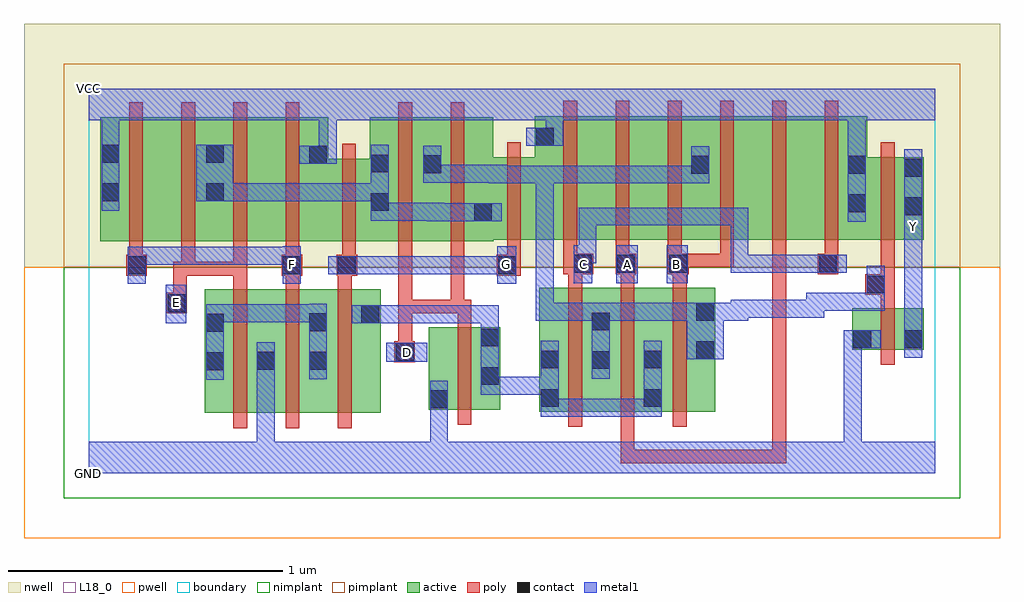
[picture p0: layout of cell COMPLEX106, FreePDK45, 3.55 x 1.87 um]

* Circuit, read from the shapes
.subckt COMPLEX106 A B C D E F G GND VCC Y
M1 GND E n1 VSUBS nfet w=0.45u l=0.05u
M2 n1 F GND VSUBS nfet w=0.45u l=0.05u
M3 n2 G n1 VSUBS nfet w=0.45u l=0.05u
M4 n2 D GND VSUBS nfet w=0.3u l=0.05u
M5 n3 C n2 VSUBS nfet w=0.45u l=0.05u
M6 n2 A n3 VSUBS nfet w=0.45u l=0.05u
M7 n3 B n2 VSUBS nfet w=0.45u l=0.05u
M8 Y n3 GND VSUBS nfet w=0.15u l=0.05u
M9 n4 F VCC n5 pfet w=0.45u l=0.05u
M10 n6 E n4 n5 pfet w=0.45u l=0.05u
M11 n7 E n6 n5 pfet w=0.45u l=0.05u
M12 VCC F n7 n5 pfet w=0.45u l=0.05u
M13 n6 G VCC n5 pfet w=0.3u l=0.05u m=2
M14 n3 D n6 n5 pfet w=0.45u l=0.05u m=2
M15 n8 C VCC n5 pfet w=0.45u l=0.05u
M16 n9 A n8 n5 pfet w=0.45u l=0.05u
M17 n3 B n9 n5 pfet w=0.45u l=0.05u
M18 n10 B n3 n5 pfet w=0.45u l=0.05u
M19 n11 A n10 n5 pfet w=0.45u l=0.05u
M20 VCC C n11 n5 pfet w=0.45u l=0.05u
M21 Y n3 VCC n5 pfet w=0.3u l=0.05u
.ends

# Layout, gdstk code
import gdstk
lib = gdstk.Library(unit=1e-6, precision=1e-09)
def R(c, l, rs):  # rectangles x0, y0, x1, y1
    for r in rs: c.add(gdstk.rectangle(r[:2], r[2:], *l))
def A(c, l, x, y, w, h, nx, ny, dx, dy):  # array of equal rectangles
    R(c, l, [(x+i*dx, y+j*dy, x+i*dx+w, y+j*dy+h) for i in range(nx) for j in range(ny)])
active = (1, 0)
pwell = (2, 0)
nwell = (3, 0)
nimplant = (4, 0)
pimplant = (5, 0)
poly = (9, 0)
contact = (10, 0)
metal1 = (11, 0)
L18_0 = (18, 0)
boundary = (235, 0)

complex106 = lib.new_cell('COMPLEX106')
R(complex106, active, [(0.422,0.22,0.682,0.67), (0.607,0.22,0.872,0.67), (0.797,0.22,1.062,0.67), (1.64,0.225,1.715,0.675), (1.64,0.225,1.9,0.675), (1.825,0.225,2.09,0.675), (2.015,0.225,2.28,0.675), (2.015,0.225,2.09,0.587), (2.205,0.225,2.28,0.675), (0.797,0.232,0.872,0.587), (0.987,0.232,1.062,0.67), (1.237,0.232,1.497,0.532), (1.237,0.232,1.312,0.392), (1.422,0.235,1.497,0.532), (0.422,0.245,0.497,0.67), (0.607,0.245,0.682,0.542), (1.825,0.245,1.9,0.675), (2.777,0.45,2.852,0.6), (2.777,0.45,3.037,0.6), (2.962,0.45,3.037,0.6), (0.042,0.845,0.117,1.295), (0.042,0.845,0.267,1.295), (0.267,0.845,0.497,1.295), (0.422,0.845,0.497,1.2), (0.422,0.845,0.647,1.295), (0.647,0.845,0.872,1.295), (0.797,0.845,1.097,1.145), (1.022,0.845,1.287,1.295), (1.212,0.845,1.472,1.295), (1.212,0.845,1.287,1.2), (1.397,0.85,1.697,1.15), (1.622,0.85,1.847,1.3), (1.847,0.85,2.037,1.3), (2.037,0.85,2.262,1.3), (2.187,0.85,2.417,1.3), (2.417,0.85,2.607,1.3), (2.607,0.85,2.832,1.3), (2.757,0.85,3.037,1.15), (2.757,0.85,2.832,1.2), (2.962,0.85,3.037,1.15), (0.797,0.857,0.872,1.197), (1.022,0.857,1.097,1.2), (2.187,0.857,2.262,1.2), (1.397,0.912,1.472,1.07), (1.622,0.925,1.697,1.267)])
R(complex106, pwell, [(-0.235,-0.235,3.315,0.75)])
R(complex106, nwell, [(-0.235,0.75,3.315,1.635)])
R(complex106, nimplant, [(-0.09,-0.09,3.17,0.75)])
R(complex106, pimplant, [(-0.09,0.75,3.17,1.49)])
A(complex106, poly, 0.527, 0.165, 0.05, 0.56, 3, 1, 0.19, 0)
A(complex106, poly, 1.745, 0.17, 0.05, 0.56, 3, 1, 0.19, 0)
A(complex106, poly, 0.527, 0.675, 0.05, 0.095, 3, 1, 0.19, 0)
A(complex106, poly, 1.745, 0.68, 0.05, 0.095, 3, 1, 0.19, 0)
A(complex106, poly, 1.727, 0.75, 0.05, 0.095, 4, 1, 0.19, 0)
A(complex106, poly, 0.147, 0.79, 0.05, 0.56, 4, 1, 0.19, 0)
A(complex106, poly, 1.727, 0.795, 0.05, 0.56, 6, 1, 0.19, 0)
R(complex106, poly, [(1.935,0.037,1.985,0.087), (1.935,0.037,1.985,0.087), (1.935,0.037,1.985,0.087), (1.935,0.037,2.182,0.087), (1.935,0.037,1.985,0.22), (2.132,0.037,2.182,0.087), (2.132,0.037,2.315,0.087), (2.265,0.037,2.315,0.087), (2.265,0.037,2.315,0.087), (2.265,0.037,2.315,0.087), (2.265,0.037,2.315,0.087), (2.265,0.037,2.315,0.087), (2.265,0.037,2.315,0.087), (2.265,0.037,2.315,0.087), (2.265,0.037,2.537,0.087), (2.487,0.037,2.537,0.845), (2.487,0.037,2.537,0.087), (2.487,0.037,2.537,0.087), (2.487,0.037,2.537,0.087), (2.487,0.037,2.537,0.087), (2.487,0.037,2.537,0.087), (2.487,0.037,2.537,0.087), (2.487,0.037,2.537,0.087), (2.487,0.037,2.537,0.087), (2.487,0.037,2.537,0.087), (1.342,0.177,1.392,0.587), (2.882,0.395,2.932,0.655), (1.112,0.405,1.187,0.48), (1.127,0.43,1.177,0.48), (1.127,0.43,1.177,0.48), (1.127,0.43,1.177,0.632), (1.342,0.537,1.392,0.632), (0.282,0.582,0.357,0.657), (1.127,0.582,1.177,0.632), (1.127,0.582,1.177,0.632), (1.127,0.582,1.177,0.632), (1.127,0.582,1.177,0.84), (1.127,0.582,1.367,0.632), (1.317,0.582,1.367,0.84), (1.317,0.582,1.392,0.632), (2.882,0.605,2.932,0.7), (0.307,0.607,0.357,0.77), (2.825,0.65,2.932,0.725), (2.882,0.675,2.932,0.845), (0.137,0.72,0.212,0.795), (0.307,0.72,0.372,0.77), (0.322,0.72,0.372,0.77), (0.322,0.72,0.387,0.77), (0.337,0.72,0.387,0.77), (0.337,0.72,0.387,0.77), (0.337,0.72,0.577,0.77), (0.337,0.72,0.387,0.84), (0.527,0.72,0.577,0.77), (0.527,0.72,0.577,0.84), (0.702,0.72,0.777,0.795), (0.902,0.72,0.977,0.795), (1.485,0.72,1.572,0.795), (1.727,0.725,1.835,0.8), (1.917,0.725,1.992,0.8), (2.107,0.725,2.182,0.8), (2.652,0.725,2.727,0.8), (0.147,0.745,0.197,0.84), (0.717,0.745,0.767,0.84), (0.922,0.745,0.972,0.84), (1.522,0.745,1.572,0.845), (2.132,0.75,2.182,0.8), (2.132,0.75,2.182,0.8), (2.132,0.75,2.347,0.8), (2.297,0.75,2.347,0.8), (2.677,0.75,2.727,0.845), (0.922,0.79,0.972,1.2), (1.127,0.79,1.177,1.35), (1.317,0.79,1.367,1.35), (1.522,0.795,1.572,1.205), (2.882,0.795,2.932,1.205)])
R(complex106, contact, [(1.242,0.237,1.307,0.302), (1.645,0.242,1.71,0.307), (2.02,0.242,2.085,0.307), (1.427,0.322,1.492,0.387), (0.427,0.375,0.492,0.44), (0.612,0.377,0.677,0.442), (0.802,0.377,0.867,0.442), (1.83,0.38,1.895,0.445), (1.645,0.382,1.71,0.447), (2.02,0.382,2.085,0.447), (1.117,0.41,1.182,0.475), (2.21,0.415,2.275,0.48), (2.782,0.455,2.847,0.52), (2.967,0.455,3.032,0.52), (1.427,0.462,1.492,0.527), (0.427,0.515,0.492,0.58), (0.802,0.517,0.867,0.582), (1.83,0.52,1.895,0.585), (0.992,0.547,1.057,0.612), (2.21,0.555,2.275,0.62), (0.287,0.587,0.352,0.652), (2.83,0.655,2.895,0.72), (0.142,0.725,0.207,0.79), (0.707,0.725,0.772,0.79), (0.907,0.725,0.972,0.79), (1.49,0.725,1.555,0.79), (1.765,0.73,1.83,0.795), (1.922,0.73,1.987,0.795), (2.112,0.73,2.177,0.795), (2.657,0.73,2.722,0.795), (1.402,0.917,1.467,0.982), (2.967,0.94,3.032,1.005), (2.762,0.95,2.827,1.015), (1.027,0.955,1.092,1.02), (0.047,0.99,0.112,1.055), (0.427,0.99,0.492,1.055), (2.967,1.08,3.032,1.145), (2.192,1.09,2.257,1.155), (2.762,1.09,2.827,1.155), (1.217,1.092,1.282,1.157), (1.027,1.095,1.092,1.16), (0.802,1.127,0.867,1.192), (0.047,1.13,0.112,1.195), (0.427,1.13,0.492,1.195), (1.627,1.192,1.692,1.257)])
R(complex106, metal1, [(0,0,3.08,0.115), (0.612,0.05,0.677,0.407), (1.242,0.05,1.307,0.115), (1.242,0.05,1.307,0.115), (1.242,0.05,1.307,0.267), (2.747,0.05,2.812,0.52), (1.242,0.202,1.307,0.267), (1.242,0.202,1.307,0.267), (1.242,0.202,1.307,0.337), (1.645,0.207,1.71,0.272), (1.645,0.207,1.71,0.272), (1.645,0.207,1.71,0.482), (1.645,0.207,1.847,0.272), (1.782,0.207,1.847,0.272), (1.782,0.207,2.03,0.272), (1.965,0.207,2.03,0.272), (1.965,0.207,2.085,0.272), (2.02,0.207,2.085,0.482), (1.427,0.287,1.492,0.352), (1.427,0.287,1.492,0.352), (1.427,0.287,1.492,0.352), (1.427,0.287,1.492,0.352), (1.427,0.287,1.71,0.352), (1.427,0.287,1.492,0.612), (0.427,0.34,0.492,0.615), (0.612,0.342,0.677,0.407), (0.612,0.342,0.677,0.407), (0.612,0.342,0.677,0.477), (0.802,0.342,0.867,0.617), (1.83,0.345,1.895,0.62), (1.082,0.407,1.232,0.475), (2.175,0.415,2.31,0.62), (2.967,0.42,3.032,0.555), (2.747,0.455,2.812,0.52), (2.747,0.455,2.812,0.52), (2.747,0.455,2.812,0.52), (2.747,0.455,2.812,0.52), (2.747,0.455,2.812,0.52), (2.747,0.455,2.812,0.52), (2.747,0.455,2.882,0.52), (2.967,0.49,3.032,0.897), (0.28,0.547,0.355,0.687), (0.957,0.547,1.092,0.612), (1.027,0.547,1.145,0.612), (1.08,0.547,1.145,0.612), (1.08,0.547,1.295,0.612), (1.23,0.547,1.295,0.612), (1.23,0.547,1.295,0.612), (1.23,0.547,1.295,0.612), (1.23,0.547,1.492,0.612), (0.427,0.55,0.492,0.615), (0.427,0.55,0.492,0.615), (0.427,0.55,0.69,0.615), (0.625,0.55,0.69,0.615), (0.625,0.55,0.69,0.615), (0.625,0.55,0.69,0.615), (0.625,0.55,0.867,0.615), (1.627,0.555,1.692,0.62), (1.627,0.555,1.692,0.62), (1.627,0.555,1.692,0.62), (1.627,0.555,1.895,0.62), (1.627,0.555,1.692,1.12), (1.83,0.555,2.03,0.62), (1.965,0.555,2.03,0.62), (1.965,0.555,2.102,0.62), (2.037,0.555,2.102,0.62), (2.037,0.555,2.24,0.62), (2.175,0.555,2.24,0.62), (2.175,0.555,2.24,0.62), (2.245,0.555,2.4,0.62), (2.335,0.555,2.4,0.632), (2.335,0.567,2.537,0.632), (2.472,0.567,2.537,0.632), (2.472,0.567,2.537,0.632), (2.472,0.567,2.537,0.632), (2.472,0.567,2.675,0.632), (2.61,0.567,2.675,0.657), (2.61,0.592,2.675,0.657), (2.61,0.592,2.675,0.657), (2.61,0.592,2.895,0.657), (2.83,0.592,2.895,0.657), (2.83,0.592,2.895,0.685), (2.83,0.62,2.895,0.685), (2.83,0.62,2.895,0.685), (2.83,0.62,2.895,0.755), (0.142,0.69,0.207,0.825), (0.707,0.69,0.772,0.827), (1.487,0.69,1.555,0.827), (1.765,0.692,1.832,0.83), (1.92,0.692,1.997,0.83), (2.102,0.692,2.18,0.83), (0.872,0.725,1.007,0.79), (0.942,0.725,1.007,0.79), (0.942,0.725,1.007,0.79), (0.942,0.725,1.145,0.79), (1.08,0.725,1.145,0.79), (1.08,0.725,1.295,0.79), (1.23,0.725,1.295,0.79), (1.23,0.725,1.295,0.79), (1.23,0.725,1.295,0.79), (1.23,0.725,1.517,0.79), (1.452,0.725,1.517,0.79), (1.452,0.725,1.552,0.79), (2.335,0.73,2.4,0.795), (2.335,0.73,2.4,0.795), (2.335,0.73,2.4,0.795), (2.335,0.73,2.537,0.795), (2.335,0.73,2.4,0.967), (2.472,0.73,2.537,0.795), (2.472,0.73,2.537,0.795), (2.472,0.73,2.537,0.795), (2.472,0.73,2.675,0.795), (2.61,0.73,2.675,0.795), (2.61,0.73,2.687,0.795), (2.622,0.73,2.757,0.795), (0.142,0.76,0.207,0.825), (0.142,0.76,0.207,0.825), (0.142,0.76,0.355,0.825), (0.29,0.76,0.355,0.825), (0.29,0.76,0.355,0.825), (0.29,0.76,0.355,0.825), (0.29,0.76,0.492,0.825), (0.427,0.76,0.492,0.825), (0.427,0.76,0.665,0.825), (0.6,0.76,0.665,0.825), (0.6,0.76,0.772,0.825), (1.767,0.765,1.847,0.83), (1.782,0.765,1.847,0.83), (1.782,0.765,1.847,0.967), (2.967,0.832,3.032,0.97), (1.782,0.902,1.847,0.967), (1.782,0.902,2.03,0.967), (1.965,0.902,2.03,0.967), (1.965,0.902,2.102,0.967), (2.037,0.902,2.102,0.967), (2.037,0.902,2.262,0.967), (2.197,0.902,2.262,0.967), (2.197,0.902,2.4,0.967), (2.335,0.902,2.4,0.967), (2.967,0.905,3.032,0.97), (2.967,0.905,3.032,1.18), (2.762,0.915,2.827,1.19), (1.23,0.917,1.432,0.982), (1.23,0.917,1.295,0.985), (1.367,0.917,1.502,0.982), (1.027,0.92,1.092,1.195), (1.027,0.92,1.145,0.985), (1.08,0.92,1.145,0.985), (1.08,0.92,1.295,0.985), (1.23,0.92,1.295,0.985), (1.23,0.92,1.295,0.985), (0.047,0.955,0.112,1.23), (0.392,0.99,0.527,1.195), (0.462,0.99,0.527,1.055), (0.462,0.99,0.527,1.055), (0.462,0.99,0.69,1.055), (0.625,0.99,0.69,1.055), (0.625,0.99,0.69,1.055), (0.625,0.99,0.69,1.055), (0.625,0.99,0.827,1.055), (0.762,0.99,0.827,1.055), (0.762,0.99,0.827,1.055), (0.762,0.99,0.827,1.055), (0.762,0.99,1.092,1.055), (1.455,1.055,1.692,1.12), (1.455,1.055,1.52,1.122), (1.627,1.055,1.692,1.12), (1.627,1.055,1.692,1.12), (1.627,1.055,1.692,1.12), (1.627,1.055,1.692,1.12), (1.627,1.055,1.692,1.12), (1.627,1.055,1.847,1.12), (1.782,1.055,1.847,1.12), (1.782,1.055,1.847,1.12), (1.782,1.055,1.847,1.12), (1.782,1.055,2.03,1.12), (1.965,1.055,2.03,1.12), (1.965,1.055,2.102,1.12), (2.037,1.055,2.102,1.12), (2.037,1.055,2.257,1.12), (2.192,1.055,2.257,1.12), (2.192,1.055,2.257,1.12), (2.192,1.055,2.257,1.19), (1.217,1.057,1.282,1.122), (1.217,1.057,1.282,1.122), (1.217,1.057,1.282,1.192), (1.217,1.057,1.52,1.122), (1.455,1.057,1.52,1.122), (1.455,1.057,1.52,1.122), (2.762,1.125,2.827,1.35), (0.767,1.127,0.902,1.192), (0.837,1.127,0.902,1.35), (0.047,1.165,0.112,1.35), (1.592,1.192,1.727,1.257), (1.662,1.192,1.727,1.35), (0,1.285,3.08,1.4)])
R(complex106, L18_0, [(0,0,3.08,0.115), (0.612,0.05,0.677,0.407), (1.242,0.05,1.307,0.115), (1.242,0.05,1.307,0.115), (1.242,0.05,1.307,0.267), (2.747,0.05,2.812,0.52), (1.242,0.202,1.307,0.337), (1.242,0.202,1.307,0.267), (1.242,0.202,1.307,0.267), (0.612,0.342,0.677,0.477), (0.612,0.342,0.677,0.407), (0.612,0.342,0.677,0.407), (1.082,0.407,1.232,0.475), (1.127,0.407,1.192,0.472), (2.967,0.42,3.032,0.555), (2.747,0.455,2.812,0.52), (2.747,0.455,2.812,0.52), (2.747,0.455,2.812,0.52), (2.747,0.455,2.812,0.52), (2.747,0.455,2.812,0.52), (2.747,0.455,2.812,0.52), (2.747,0.455,2.882,0.52), (2.967,0.49,3.032,0.897), (0.28,0.547,0.355,0.687), (0.287,0.587,0.352,0.652), (0.142,0.69,0.207,0.825), (0.707,0.69,0.772,0.827), (1.487,0.69,1.555,0.827), (1.765,0.692,1.832,0.83), (1.92,0.692,1.997,0.83), (2.102,0.692,2.18,0.83), (0.872,0.725,1.007,0.79), (0.942,0.725,1.007,0.79), (0.942,0.725,1.007,0.79), (0.942,0.725,1.145,0.79), (1.08,0.725,1.145,0.79), (1.08,0.725,1.295,0.79), (1.23,0.725,1.295,0.79), (1.23,0.725,1.295,0.79), (1.23,0.725,1.295,0.79), (1.23,0.725,1.517,0.79), (1.452,0.725,1.517,0.79), (1.452,0.725,1.552,0.79), (0.707,0.727,0.772,0.792), (1.487,0.727,1.552,0.792), (1.767,0.727,1.832,0.792), (1.927,0.727,1.992,0.792), (2.107,0.727,2.172,0.792), (2.335,0.73,2.4,0.795), (2.335,0.73,2.4,0.795), (2.335,0.73,2.4,0.795), (2.335,0.73,2.537,0.795), (2.335,0.73,2.4,0.967), (2.472,0.73,2.537,0.795), (2.472,0.73,2.537,0.795), (2.472,0.73,2.537,0.795), (2.472,0.73,2.675,0.795), (2.61,0.73,2.675,0.795), (2.61,0.73,2.687,0.795), (2.622,0.73,2.757,0.795), (0.142,0.76,0.207,0.825), (0.142,0.76,0.207,0.825), (0.142,0.76,0.355,0.825), (0.29,0.76,0.355,0.825), (0.29,0.76,0.355,0.825), (0.29,0.76,0.355,0.825), (0.29,0.76,0.492,0.825), (0.427,0.76,0.492,0.825), (0.427,0.76,0.665,0.825), (0.6,0.76,0.665,0.825), (0.6,0.76,0.772,0.825), (1.767,0.765,1.847,0.83), (1.782,0.765,1.847,0.83), (1.782,0.765,1.847,0.967), (2.967,0.832,3.032,0.97), (2.967,0.867,3.032,0.932), (1.782,0.902,1.847,0.967), (1.782,0.902,2.03,0.967), (1.965,0.902,2.03,0.967), (1.965,0.902,2.102,0.967), (2.037,0.902,2.102,0.967), (2.037,0.902,2.262,0.967), (2.197,0.902,2.262,0.967), (2.197,0.902,2.4,0.967), (2.335,0.902,2.4,0.967), (2.967,0.905,3.032,1.18), (2.967,0.905,3.032,0.97), (2.762,0.915,2.827,1.19), (0.047,0.955,0.112,1.23), (2.762,1.125,2.827,1.35), (0.767,1.127,0.902,1.192), (0.837,1.127,0.902,1.35), (0.047,1.165,0.112,1.35), (1.592,1.192,1.727,1.257), (1.662,1.192,1.727,1.35), (0,1.285,3.08,1.4)])
R(complex106, boundary, [(0,0,3.08,1.4)])
complex106.add(gdstk.Label('A', (1.96,0.76), layer=11, texttype=0))
complex106.add(gdstk.Label('B', (2.14,0.76), layer=11, texttype=0))
complex106.add(gdstk.Label('C', (1.8,0.76), layer=11, texttype=0))
complex106.add(gdstk.Label('D', (1.16,0.44), layer=11, texttype=0))
complex106.add(gdstk.Label('E', (0.32,0.62), layer=11, texttype=0))
complex106.add(gdstk.Label('F', (0.74,0.76), layer=11, texttype=0))
complex106.add(gdstk.Label('G', (1.52,0.76), layer=11, texttype=0))
complex106.add(gdstk.Label('Y', (3,0.9), layer=11, texttype=0))
complex106.add(gdstk.Label('VCC', (0,1.4), layer=11, texttype=0))
complex106.add(gdstk.Label('GND', (0,0), layer=11, texttype=0))

lib.write_gds('COMPLEX106.gds')
